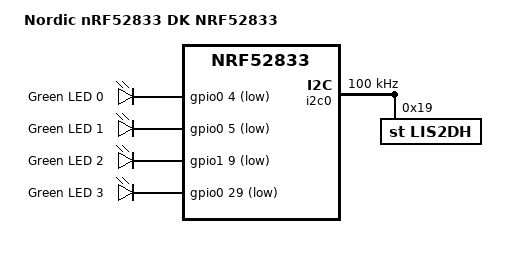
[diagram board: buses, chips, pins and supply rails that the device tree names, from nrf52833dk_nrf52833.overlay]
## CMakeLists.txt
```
cmake_minimum_required(VERSION 3.20.0)
find_package(Zephyr REQUIRED HINTS $ENV{ZEPHYR_BASE})

project(LIS3DH)

target_sources(app PRIVATE src/main.c)
```

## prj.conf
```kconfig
CONFIG_STDOUT_CONSOLE=y
CONFIG_I2C=y
CONFIG_SENSOR=y
CONFIG_GPIO=y
CONFIG_CBPRINTF_FP_SUPPORT=y
CONFIG_PM_DEVICE=y
CONFIG_LOG=y
CONFIG_LIS2DH=y
```

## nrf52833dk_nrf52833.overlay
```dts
/ {
    model = "Nordic nRF52833 DK NRF52833";
    compatible = "nordic,nrf52833-dk-nrf52833";

    leds {
        compatible = "gpio-leds";
        led0: led_0 {
            gpios = <&gpio0 4 GPIO_ACTIVE_LOW>;
            label = "Green LED 0";
        };
        led1: led_1 {
            gpios = <&gpio0 5 GPIO_ACTIVE_LOW>;
            label = "Green LED 1";
        };
        led2: led_2 {
            gpios = <&gpio1 9 GPIO_ACTIVE_LOW>;
            label = "Green LED 2";
        };
        led3: led_3 {
            gpios = <&gpio0 29 GPIO_ACTIVE_LOW>;
            label = "Green LED 3";
        };
    };

};


&pinctrl {
    uart0_default: uart0_default {
        group1 {
            psels = <NRF_PSEL(UART_TX, 0, 29)>,
                    <NRF_PSEL(UART_RX, 0, 28)>;
        };
    };

    uart0_sleep: uart0_sleep {
        group1 {
            psels = <NRF_PSEL(UART_TX, 0, 29)>,
                    <NRF_PSEL(UART_RX, 0, 28)>;
            low-power-enable;
        };
    };

    i2c0_default: i2c0_default {
        group1 {
            psels = <NRF_PSEL(TWIM_SDA, 0, 2)>,
                    <NRF_PSEL(TWIM_SCL, 0, 3)>;
        };
    };

    i2c0_sleep: i2c0_sleep {
        group1 {
            psels = <NRF_PSEL(TWIM_SDA, 0, 2)>,
                    <NRF_PSEL(TWIM_SCL, 0, 3)>;
            low-power-enable;
        };
    };
};

&i2c0 {
    compatible = "nordic,nrf-twim";
    status = "okay";
    clock-frequency = <I2C_BITRATE_STANDARD>;
    lis2dh@19 {
        status = "okay";
        compatible = "st,lis2dh";
        reg = <0x19>;
        label = "LIS2DH";
    };
};
```

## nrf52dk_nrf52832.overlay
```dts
&i2c0 {
    compatible = "nordic,nrf-twim";
    status = "okay";
    clock-frequency = <I2C_BITRATE_STANDARD>;
    lis2dh@19 {
        status = "okay";
        compatible = "st,lis2dh";
        reg = <0x19>;
        label = "LIS2DH";
    };
};

/* For node configuration only */

// &pinctrl {
// 	uart0_default: uart0_default {
// 		group1 {
// 			psels = <NRF_PSEL(UART_TX, 0, 24)>, //6   for nrf52dk5832 / 5840
// 				<NRF_PSEL(UART_RX, 0, 23)>,   //8	  for nrf52dk5832
// 				<NRF_PSEL(UART_RTS, 0, 5)>,
// 				<NRF_PSEL(UART_CTS, 0, 7)>;
// 		};
// 	};

// 	uart0_sleep: uart0_sleep {
// 		group1 {
// 			psels = <NRF_PSEL(UART_TX, 0, 24)>,    //6
// 				<NRF_PSEL(UART_RX, 0, 23)>,        //8
// 				<NRF_PSEL(UART_RTS, 0, 5)>,
// 				<NRF_PSEL(UART_CTS, 0, 7)>;
// 			low-power-enable;
// 		};
// 	};
// 	i2c0_default: i2c0_default {
// 		group1 {
// 			psels = <NRF_PSEL(TWIM_SDA, 0, 26)>,  
// 				<NRF_PSEL(TWIM_SCL, 0, 25)>;      
// 		};
// 	};

// 	i2c0_sleep: i2c0_sleep {
// 		group1 {
// 			psels = <NRF_PSEL(TWIM_SDA, 0, 26)>,   
// 				<NRF_PSEL(TWIM_SCL, 0, 25)>;        
// 			low-power-enable;
// 		};
// 	};
// &uart0 {
//     status = "okay";
//     current-speed=<9600>;
// };
// };
```

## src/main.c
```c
#include <zephyr/kernel.h>
#include <zephyr/device.h>
#include <zephyr/drivers/sensor.h>

#define delayTime 200 // Sleep duration in milliseconds

// Fetch and display accelerometer data
static void fetch_and_display(const struct device *sensor)
{
	static unsigned int count = 0; // Sample counter
	struct sensor_value accel[3];  // Array to hold XYZ acceleration values
	size_t upTime=k_uptime_get_32();
	upTime=upTime/1000;

	if (sensor_sample_fetch(sensor) < 0)
	{ // Fetch data from sensor
		printf("ERROR: Sample fetch failed\n");
		return;
	}

	if (sensor_channel_get(sensor, SENSOR_CHAN_ACCEL_XYZ, accel) < 0)
	{ // Get XYZ acceleration data
		printf("ERROR: Channel get failed\n");
		return;
	}

	// Display sample count, uptime, and XYZ acceleration values
	printf("#%u @ %u ms: x %f, y %f, z %f\n",
		   ++count, upTime,
		   sensor_value_to_double(&accel[0]),
		   sensor_value_to_double(&accel[1]),
		   sensor_value_to_double(&accel[2]));
}

void main(void)
{
	// Get sensor device binding
	const struct device *sensor = DEVICE_DT_GET_ANY(st_lis2dh);

	if (!device_is_ready(sensor))
	{ // Check if sensor is ready
		printf("Device %s is not ready or not found\n", sensor ? sensor->name : "NULL");
		return;
	}

	while (1)
	{
		fetch_and_display(sensor); // Fetch and display sensor data
		k_msleep(delayTime);		   // Sleep for specified duration
	}
}
```
